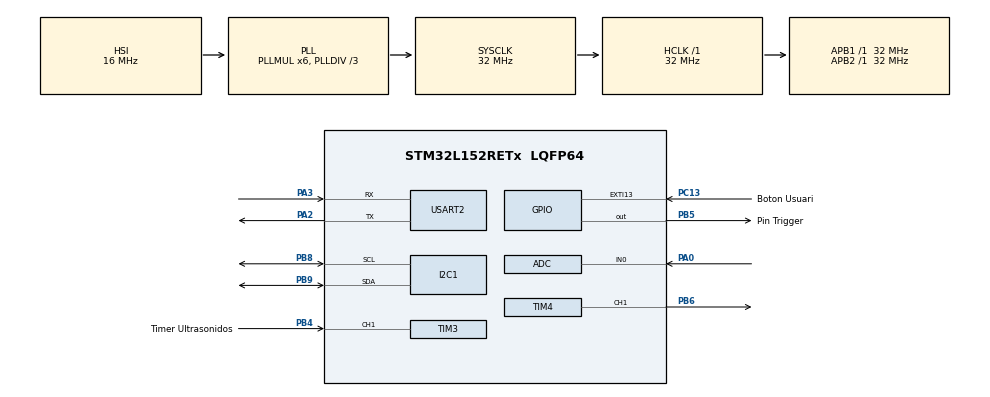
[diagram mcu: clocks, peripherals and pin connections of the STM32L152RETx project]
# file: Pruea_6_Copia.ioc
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ADC.Channel-0\#ChannelRegularConversion=ADC_CHANNEL_0
ADC.NbrOfConversionFlag=1
ADC.Rank-0\#ChannelRegularConversion=1
ADC.SamplingTime-0\#ChannelRegularConversion=ADC_SAMPLETIME_4CYCLES
Mcu.Family=STM32L1
Mcu.Name=STM32L152RETx
Mcu.Package=LQFP64
NVIC.EXTI15_10_IRQn=true\:0\:0\:false\:false\:true\:true\:false
NVIC.PriorityGroup=NVIC_PRIORITYGROUP_4
NVIC.TIM3_IRQn=true\:0\:0\:false\:false\:true\:true\:false
PA0-WKUP1.Mode=IN0
PA0-WKUP1.Signal=ADC_IN0
PA13.Signal=SYS_JTMS-SWDIO
PA14.Signal=SYS_JTCK-SWCLK
PA2.Mode=Asynchronous
PA2.Signal=USART2_TX
PA3.Mode=Asynchronous
PA3.Signal=USART2_RX
PB10.GPIO_Label=Timer PWM
PB10.Signal=S_TIM2_CH3
PB4.GPIO_Label=Timer Ultrasonidos
PB4.Signal=S_TIM3_CH1
PB5.GPIO_Label=Pin Trigger
PB5.Signal=GPIO_Output
PB6.Signal=S_TIM4_CH1
PB8.Mode=I2C
PB8.Signal=I2C1_SCL
PB9.Mode=I2C
PB9.Signal=I2C1_SDA
PC13-WKUP2.GPIO_Label=Boton Usuari
PC13-WKUP2.Signal=GPXTI13
PC14-OSC32_IN.Mode=LSE-External-Oscillator
PC14-OSC32_IN.Signal=RCC_OSC32_IN
PC15-OSC32_OUT.Mode=LSE-External-Oscillator
PC15-OSC32_OUT.Signal=RCC_OSC32_OUT
PH0-OSC_IN.Mode=HSE-External-Oscillator
PH0-OSC_IN.Signal=RCC_OSC_IN
PH1-OSC_OUT.Mode=HSE-External-Oscillator
PH1-OSC_OUT.Signal=RCC_OSC_OUT
ProjectManager.HeapSize=0x200
ProjectManager.StackSize=0x400
ProjectManager.TargetToolchain=STM32CubeIDE
RCC.48MHZClocksFreq_Value=48000000
RCC.AHBFreq_Value=32000000
RCC.APB1Freq_Value=32000000
RCC.APB1TimFreq_Value=32000000
RCC.APB2Freq_Value=32000000
RCC.APB2TimFreq_Value=32000000
RCC.HCLKFreq_Value=32000000
RCC.HSE_VALUE=8000000
RCC.HSI_VALUE=16000000
RCC.MSI_VALUE=2097000
RCC.PLLDIV=RCC_PLL_DIV3
RCC.PLLMUL=RCC_PLL_MUL6
RCC.SYSCLKFreq_VALUE=32000000
RCC.SYSCLKSource=RCC_SYSCLKSOURCE_PLLCLK
RCC.VCOOutputFreq_Value=96000000
SH.S_TIM2_CH3.0=TIM2_CH3
SH.S_TIM3_CH1.0=TIM3_CH1,Input_Capture1_from_TI1
SH.S_TIM4_CH1.0=TIM4_CH1,PWM Generation1 CH1
TIM2.Channel-PWM\ Generation3\ No\ Output=TIM_CHANNEL_3
TIM2.Period=39999
TIM2.Prescaler=15
TIM3.Channel-Input_Capture1_from_TI1=TIM_CHANNEL_1
TIM3.ICPolarity_CH1=TIM_INPUTCHANNELPOLARITY_BOTHEDGE
TIM3.Prescaler=31
TIM4.Channel-PWM\ Generation1\ CH1=TIM_CHANNEL_1
TIM4.Period=255-1
TIM4.Prescaler=492-1
TIM7.Prescaler=31
USART2.VirtualMode=VM_ASYNC
VP_TIM2_VS_no_output3.Mode=PWM Generation3 No Output
VP_TIM3_VS_ClockSourceINT.Mode=Internal
VP_TIM4_VS_ClockSourceINT.Mode=Internal
VP_TIM7_VS_ClockSourceINT.Mode=Enable_Timer
board=custom

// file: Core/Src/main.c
/* USER CODE BEGIN Header */
/**
  ******************************************************************************
  * @file           : main.c
  * @brief          : Main program body
  ******************************************************************************
  * @attention
  *
  * <h2><center>&copy; Copyright (c) 2020 STMicroelectronics.
  * All rights reserved.</center></h2>
  *
  * This software component is licensed by ST under BSD 3-Clause license,
  * the "License"; You may not use this file except in compliance with the
  * License. You may obtain a copy of the License at:
  *                        opensource.org/licenses/BSD-3-Clause
  *
  ******************************************************************************
  */
/* USER CODE END Header */
#include "main.h"

/* USER CODE BEGIN Includes */
#include <stdio.h>
#include <string.h>
#include "stm32l1xx_hal.h"
//**Incluir librerias para el dispositivo MPU6050
#include "TJ_MPU6050.h"
/* USER CODE END Includes */

ADC_HandleTypeDef hadc;

I2C_HandleTypeDef hi2c1;

TIM_HandleTypeDef htim2;
TIM_HandleTypeDef htim3;
TIM_HandleTypeDef htim4;
TIM_HandleTypeDef htim7;

UART_HandleTypeDef huart2;

/* USER CODE BEGIN PV */

//Variables para leer de la terminal
int len=0;
int buff[256];

//Variables modo 1
uint8_t exit_mode1=0;
uint32_t angle;
uint32_t valor_adc;

//Variables modo 2
uint8_t exit_mode2=0;
uint16_t CCR_motor[4] = {1200, 2500, 3700, 5000};
uint8_t angles_motor[4] = {0, 60, 120, 180};
uint8_t distances[4];
uint8_t largest_position;
uint8_t largest;
uint8_t done_measuring;
uint16_t MPU_values[4];
uint16_t apto;

//Variable EXTIs
uint8_t msg;
uint8_t program_out;

//Variables Ultrasonidos
uint32_t time_elapsed;
uint8_t distance;
uint8_t time_captured;

/* USER CODE END PV */

void SystemClock_Config(void);
static void MX_GPIO_Init(void);
static void MX_ADC_Init(void);
static void MX_TIM2_Init(void);
static void MX_TIM3_Init(void);
static void MX_TIM7_Init(void);
static void MX_USART2_UART_Init(void);
static void MX_TIM4_Init(void);
static void MX_I2C1_Init(void);

/* USER CODE BEGIN 0 */

//**Datos para el MPU
//Estructuras de los datos obtenidos del MPU
RawData_Def myAccelRaw, myGyroRaw;
ScaledData_Def myAccelScaled, myGyroScaled;

//**Funcion para delay ultrasonidos
void delay(uint32_t delay){

			if(delay < 2) delay = 2;
			TIM7->ARR = delay - 1;
			TIM7-> CNT = 0;
			TIM7->CR1 |= 1;
			while((TIM7->SR&0x0001) != 1);
			TIM7->SR &= ~(0x0001);

		}

//**Funcion para leer de la terminal

		int readMsg(void)
		{

		 for( len =0;len<256;len++)
		 {
			while(!(USART2->SR & USART_SR_RXNE));
		   buff[len]= USART2->DR;
			if (buff[len]==10 || buff[len]==13) break; //Condicion si se preciona enter
		 }
		 return len; //Devuelve el string de caracteres sin incluir el enter
		}

//**Funcion para printf

		#ifdef __GNUC__
		/* With GCC, small printf (option LD Linker->Libraries->Small printf
		 set to 'Yes') calls __io_putchar() */
		#define PUTCHAR_PROTOTYPE int __io_putchar(int ch)
		#define GETCHAR_PROTOTYPE int __io_getchar(void)
		#else
		#define PUTCHAR_PROTOTYPE int fputc(int ch, FILE *f)
		#define GETCHAR_PROTOTYPE int fgetc(FILE *f)
		#endif /* __GNUC__ */

		PUTCHAR_PROTOTYPE {
			/* Place your implementation of fputc here */
			/* e.g. write a character to the EVAL_COM1 and Loop until the end of transmission */
			HAL_UART_Transmit(&huart2, (uint8_t*) &ch, 1, 0xFFFF);
			return ch;
		}
		GETCHAR_PROTOTYPE {
			/* Place your implementation of fgetc here */
			/* e.g. write a character to the EVAL_COM1 and Loop until the end of transmission */
			char ch;
			HAL_UART_Receive(&huart2, (uint8_t*) &ch, 1, 0xFFFF);
			return ch;
		}

//**Funcion de notas musicales

		void Correcto_zelda(void){
			  //Cambiar el valor del PSC del timer para ajustar el tono del sonido
			  TIM4->PSC = 319-1;
			  //Setear el CCR a 50 para ajustar el volumen del sonido
			  htim4.Instance->CCR1 = 50;
			  HAL_Delay(200);
			  TIM4->PSC = 338-1;
			  htim4.Instance->CCR1 = 50;
			  HAL_Delay(200);
			  TIM4->PSC = 402-1;
			  htim4.Instance->CCR1 = 50;
			  HAL_Delay(200);
			  TIM4->PSC = 801-1;
			  htim4.Instance->CCR1 = 50;
			  HAL_Delay(200);
			  TIM4->PSC = 603-1;
			  htim4.Instance->CCR1 = 50;
			  HAL_Delay(200);
			  TIM4->PSC = 380-1;
			  htim4.Instance->CCR1 = 50;
			  HAL_Delay(200);
			  TIM4->PSC = 301-1;
			  htim4.Instance->CCR1 = 50;
			  HAL_Delay(200);
			  TIM4->PSC = 239-1;
			  htim4.Instance->CCR1 = 50;
			  HAL_Delay(400);
			  htim4.Instance->CCR1 = 0;
		}

		void final_notificacion(void){
			  TIM4->PSC = 478-1;
			  htim4.Instance->CCR1 = 50;
			  HAL_Delay(100);
			  htim4.Instance->CCR1 = 0;
			  HAL_Delay(100);
			  TIM4->PSC = 478-1;
			  htim4.Instance->CCR1 = 50;
			  HAL_Delay(200);
			  TIM4->PSC = 425-1;
			  htim4.Instance->CCR1 = 50;
			  HAL_Delay(200);
			  htim4.Instance->CCR1 = 0;
			  HAL_Delay(100);
			  TIM4->PSC = 425-1;
			  htim4.Instance->CCR1 = 50;
			  HAL_Delay(200);
			  TIM4->PSC = 379-1;
			  htim4.Instance->CCR1 = 50;
			  HAL_Delay(200);
			  htim4.Instance->CCR1 = 0;
			  HAL_Delay(100);
			  TIM4->PSC = 379-1;
			  htim4.Instance->CCR1 = 50;
			  HAL_Delay(200);
			  TIM4->PSC = 425-1;
			  htim4.Instance->CCR1 = 50;
			  HAL_Delay(100);
			  TIM4->PSC = 379-1;
			  htim4.Instance->CCR1 = 50;
			  HAL_Delay(200);
			  htim4.Instance->CCR1 = 0;
		}

//**Codigo para el standby mode

		void gotoSleep(void){

			  //Activar el PWR Control Clock
			  RCC->APB1ENR|= (RCC_APB1ENR_PWREN);

			  //Activar el bit SLEEDEEP del Cortex System Control Register
			  SCB->SCR |= SCB_SCR_SLEEPDEEP_Msk;

			  //Seleccionar Standby mode
			  PWR->CR |= PWR_CR_PDDS;

			  //Borrar el wake up flag
			  PWR->CR |= PWR_CR_CWUF;

			  //Activar el wakeup pin
			  PWR->CR |= (PWR_CSR_EWUP2);

			  //Activar wait for interrupt
			  __WFI();

		}

/* USER CODE END 0 */

int main(void)
{
  /* USER CODE BEGIN 1 */
	MPU_ConfigTypeDef myMpuConfig;
  /* USER CODE END 1 */

  /* MCU Configuration--------------------------------------------------------*/

  /* Reset of all peripherals, Initializes the Flash interface and the Systick. */
  HAL_Init();

  /* Configure the system clock */
  SystemClock_Config();

  /* Initialize all configured peripherals */
  MX_GPIO_Init();
  MX_ADC_Init();
  MX_TIM2_Init();
  MX_TIM3_Init();
  MX_TIM7_Init();
  MX_USART2_UART_Init();
  MX_TIM4_Init();
  MX_I2C1_Init();
  /* USER CODE BEGIN 2 */

  //**Codigo para comprobar si ha despertado del modo StandBy
  //Si la flag del modo stand by esta activada, se pasa la condicion
  if(((PWR->CSR)&(PWR_CSR_SBF))){
	  PWR->CR |= PWR_CR_CWUF;
	  PWR->CR |= PWR_CR_CSBF;

	  printf("Saliendo del StandBy Mode\n");
	  HAL_Delay(1500);

  }

  //Inicializar modulo MPU6050 y I2C
   MPU6050_Init(&hi2c1);

   //MPU6050 Config
   myMpuConfig.Accel_Full_Scale = AFS_SEL_2g;
   myMpuConfig.ClockSource = Internal_8MHz;
   myMpuConfig.CONFIG_DLPF = DLPF_184A_188G_Hz;
   myMpuConfig.Gyro_Full_Scale = FS_SEL_500;
   myMpuConfig.Sleep_Mode_Bit = 1; // 1 = sleep mode, 0= normal mode
   MPU6050_Config(&myMpuConfig);

  /* USER CODE END 2 */

  /* Infinite loop */
  /* USER CODE BEGIN WHILE */
  while (1)
  {
	  do{
		  //Presentación del menu al usuario
		  printf("Bienvenido al menu, elija el modo de funcionamiento. Si quieres salir escribir introducir '0':\n");
		  printf("Modo 1 - '1'\n");
		  printf("Modo 2 - '2'\n");
		  printf("StanbBy Mode - '3'\n");

		  //Leer el input del usuario
		  readMsg();

		  //MODO 1 MANUAL
		  if(buff[0] == 49){
			  exit_mode1 = 0;
			  printf("Modo 1 seleccionado\nPorfavor, posicione el sensor en la posición deseada. Una vez posicionado presione el botón usuario");
			  do{

				  	//Activar la señal PWM para el motor y el ADC para obtener una señal del potenciometro
			  		HAL_TIM_PWM_Start(&htim2,TIM_CHANNEL_3);
			  		HAL_ADC_Start(&hadc);
			  		HAL_ADC_PollForConversion(&hadc, HAL_MAX_DELAY);
			  		valor_adc = HAL_ADC_GetValue(&hadc);
			  		HAL_ADC_Stop(&hadc);

			  		//Formula para que el motor obtenga los valores correctos
			  		TIM2->CCR3 = ((valor_adc*0.92796)+1200); // MAX CCR3 = 5000, MIN CCR3 = 1200
			  		angle = (valor_adc*0.04395);

			  	  		if(msg == 1){
			  	  			//Enviar el trigger para que mida el ultrasonidos
				  			 msg = 0;
				  			 HAL_GPIO_WritePin(GPIOB, GPIO_PIN_5, GPIO_PIN_RESET);
				  			 delay(3);
				  			 HAL_GPIO_WritePin(GPIOB, GPIO_PIN_5, GPIO_PIN_SET);
				  			 delay(10);
				  			 HAL_GPIO_WritePin(GPIOB, GPIO_PIN_5, GPIO_PIN_RESET);
				  			 HAL_TIM_IC_Start_IT(&htim3, TIM_CHANNEL_1);
			  	  		}

			  	  		if(time_captured){
			  	  			//Calcular distancia y mostrarla con el angulo
			  	  			distance = (time_elapsed)/58;
			  	  			printf("Distance(cm):%hu\nAngle(degrees):%hu\n", distance, angle);
			  	  			time_captured = 0;
			  	  			//Notificacion por sonido
			  	  			HAL_TIM_PWM_Start(&htim4,TIM_CHANNEL_1);
			  	  			final_notificacion();
			  	  			//Preguntar si quiere volver a medir
			  	  			printf("Quiere volver a medir una nueva distancia manualmente? 1 -> Si, 0 -> No\n");
			  	  			readMsg();
			  	  			if(buff[0] == 48){
			  	  				exit_mode1 = 1;
			  	  			}
			  	  		}
			  }while(!exit_mode1);
		  }

		  //Parar la señal PWM y el ADC
		  HAL_TIM_PWM_Stop(&htim2,TIM_CHANNEL_3);
		  HAL_ADC_Stop(&hadc);

		  //MODO 2 AUTOMATICO
		  if(buff[0] == 50){
			 exit_mode2=0;
			 //Se despierta el MPU
			 myMpuConfig.Sleep_Mode_Bit = 0;
		  	 printf("Modo 2 seleccionado\n");

		  	 do{
		  		 done_measuring = 0;
		  		while(!done_measuring){
		  			printf("Tomando medidas...\n");
		  			HAL_TIM_PWM_Start(&htim2,TIM_CHANNEL_3);
		  			for(int i=0;i<4;i++){
		  				//Posicionar el motor
		  				TIM2->CCR3=CCR_motor[i];

		  				/*CODIGO PARA EL MPU, PERO NO FUNCIONA CORRECTAMENTE
		  				Recopilar datos del MPU
		  				for(int i=0;i<4;i++){
							HAL_Delay(8);
							MPU6050_Get_Accel_Scale(&myAccelScaled);
							MPU6050_Get_Gyro_Scale(&myGyroScaled);
		  					MPU_values[i] = myGyroScaled.x;
		  				}

		  				//Analizar que el MPU alcance una velocidad mayor de 250 grados por segundo
		  				for(int i=0;i<4;i++){
		  					if(MPU_values[i]>250){
		  						apto = 1;
		  					}
		  				}

		  				//Si no lo alcanza es que hay un obstaculo
		  				if(!apto){
		  					printf("Error");
		  					break;
		  				}
		  				apto = 0; */

		  				HAL_Delay(1500);
		  				//Enviar señal al trigger
		  				HAL_GPIO_WritePin(GPIOB, GPIO_PIN_5, GPIO_PIN_RESET);
		  				delay(3);
		  				HAL_GPIO_WritePin(GPIOB, GPIO_PIN_5, GPIO_PIN_SET);
		  				delay(10);
		  				HAL_GPIO_WritePin(GPIOB, GPIO_PIN_5, GPIO_PIN_RESET);
		  				HAL_TIM_IC_Start_IT(&htim3, TIM_CHANNEL_1);
		  				HAL_Delay(500);
		  				//Guardar la medida obtenida
		  				if(time_captured){
		  				//Calcular distancia y guardarlax
							distance = (time_elapsed)/58;
							distances[i]= distance;
							time_captured = 0;

		  				}
		  			}
		  			done_measuring = 1;
		  		}

		  		largest = distances[0];

		  		//Buscar la posicion con mas distancia medida por el ultrasonidos
		  		for(int i=0;i<4;i++){
		  			//Si la medida a comparar es mayor que la anterior, toma lugar como la mayor medida
		  			if(distances[i]>largest){
		  				largest = distances[i];
		  				largest_position = i;
		  			}
		  		}

		  		//Posicionar el motor en la posicion con mayor distancia
		  		TIM2->CCR3=CCR_motor[largest_position];
		  		//Mostrar resultado y pedir si se desea hacer otro escaneo
		  		printf("Para volver a escanear, introducir '1'. Para salir al menu, introducir '0'\nDistance: %d\tAngle: %d\n",largest, angles_motor[largest_position]);
		  		//Notificar por sonido
		  		HAL_TIM_PWM_Start(&htim4,TIM_CHANNEL_1);
		  		Correcto_zelda();
		  		HAL_TIM_PWM_Stop(&htim4,TIM_CHANNEL_1);
		  		sreadMsg();
		  		if(buff[0] == 48){
		  			exit_mode2 = 1;
		  			HAL_TIM_PWM_Stop(&htim2,TIM_CHANNEL_3);
		  		}
		  	}while(!exit_mode2);
		  	 //Se duerme el MPU
		  	myMpuConfig.Sleep_Mode_Bit = 1;
		 }

		  if(buff[0] == 51){
			  //Se anuncia que el programa esta entrando en Stand By
			  printf("Entrando StandBy Mode\n");
			  gotoSleep();
		  }

		  if(buff[0] == 48){
			  program_out = 1;
		  }

	  }while(!program_out);

	  printf("Gracias por usar el sonar");

    /* USER CODE END WHILE */

  }
}

void SystemClock_Config(void)
{
  RCC_OscInitTypeDef RCC_OscInitStruct = {0};
  RCC_ClkInitTypeDef RCC_ClkInitStruct = {0};

  /** Configure the main internal regulator output voltage
  */
  __HAL_PWR_VOLTAGESCALING_CONFIG(PWR_REGULATOR_VOLTAGE_SCALE1);
  /** Initializes the RCC Oscillators according to the specified parameters
  * in the RCC_OscInitTypeDef structure.
  */
  RCC_OscInitStruct.OscillatorType = RCC_OSCILLATORTYPE_HSI;
  RCC_OscInitStruct.HSIState = RCC_HSI_ON;
  RCC_OscInitStruct.HSICalibrationValue = RCC_HSICALIBRATION_DEFAULT;
  RCC_OscInitStruct.PLL.PLLState = RCC_PLL_ON;
  RCC_OscInitStruct.PLL.PLLSource = RCC_PLLSOURCE_HSI;
  RCC_OscInitStruct.PLL.PLLMUL = RCC_PLL_MUL6;
  RCC_OscInitStruct.PLL.PLLDIV = RCC_PLL_DIV3;
  if (HAL_RCC_OscConfig(&RCC_OscInitStruct) != HAL_OK)
  {
    Error_Handler();
  }
  /** Initializes the CPU, AHB and APB buses clocks
  */
  RCC_ClkInitStruct.ClockType = RCC_CLOCKTYPE_HCLK|RCC_CLOCKTYPE_SYSCLK
                              |RCC_CLOCKTYPE_PCLK1|RCC_CLOCKTYPE_PCLK2;
  RCC_ClkInitStruct.SYSCLKSource = RCC_SYSCLKSOURCE_PLLCLK;
  RCC_ClkInitStruct.AHBCLKDivider = RCC_SYSCLK_DIV1;
  RCC_ClkInitStruct.APB1CLKDivider = RCC_HCLK_DIV1;
  RCC_ClkInitStruct.APB2CLKDivider = RCC_HCLK_DIV1;

  if (HAL_RCC_ClockConfig(&RCC_ClkInitStruct, FLASH_LATENCY_1) != HAL_OK)
  {
    Error_Handler();
  }
}

static void MX_ADC_Init(void)
{

  ADC_ChannelConfTypeDef sConfig = {0};

  /** Configure the global features of the ADC (Clock, Resolution, Data Alignment and number of conversion)
  */
  hadc.Instance = ADC1;
  hadc.Init.ClockPrescaler = ADC_CLOCK_ASYNC_DIV1;
  hadc.Init.Resolution = ADC_RESOLUTION_12B;
  hadc.Init.DataAlign = ADC_DATAALIGN_RIGHT;
  hadc.Init.ScanConvMode = ADC_SCAN_DISABLE;
  hadc.Init.EOCSelection = ADC_EOC_SEQ_CONV;
  hadc.Init.LowPowerAutoWait = ADC_AUTOWAIT_DISABLE;
  hadc.Init.LowPowerAutoPowerOff = ADC_AUTOPOWEROFF_DISABLE;
  hadc.Init.ChannelsBank = ADC_CHANNELS_BANK_A;
  hadc.Init.ContinuousConvMode = DISABLE;
  hadc.Init.NbrOfConversion = 1;
  hadc.Init.DiscontinuousConvMode = DISABLE;
  hadc.Init.ExternalTrigConv = ADC_SOFTWARE_START;
  hadc.Init.ExternalTrigConvEdge = ADC_EXTERNALTRIGCONVEDGE_NONE;
  hadc.Init.DMAContinuousRequests = DISABLE;
  if (HAL_ADC_Init(&hadc) != HAL_OK)
  {
    Error_Handler();
  }
  /** Configure for the selected ADC regular channel its corresponding rank in the sequencer and its sample time.
  */
  sConfig.Channel = ADC_CHANNEL_0;
  sConfig.Rank = ADC_REGULAR_RANK_1;
  sConfig.SamplingTime = ADC_SAMPLETIME_4CYCLES;
  if (HAL_ADC_ConfigChannel(&hadc, &sConfig) != HAL_OK)
  {
    Error_Handler();
  }

}

static void MX_I2C1_Init(void)
{

  hi2c1.Instance = I2C1;
  hi2c1.Init.ClockSpeed = 100000;
  hi2c1.Init.DutyCycle = I2C_DUTYCYCLE_2;
  hi2c1.Init.OwnAddress1 = 0;
  hi2c1.Init.AddressingMode = I2C_ADDRESSINGMODE_7BIT;
  hi2c1.Init.DualAddressMode = I2C_DUALADDRESS_DISABLE;
  hi2c1.Init.OwnAddress2 = 0;
  hi2c1.Init.GeneralCallMode = I2C_GENERALCALL_DISABLE;
  hi2c1.Init.NoStretchMode = I2C_NOSTRETCH_DISABLE;
  if (HAL_I2C_Init(&hi2c1) != HAL_OK)
  {
    Error_Handler();
  }

}

static void MX_TIM2_Init(void)
{

  TIM_MasterConfigTypeDef sMasterConfig = {0};
  TIM_OC_InitTypeDef sConfigOC = {0};

  htim2.Instance = TIM2;
  htim2.Init.Prescaler = 15;
  htim2.Init.CounterMode = TIM_COUNTERMODE_UP;
  htim2.Init.Period = 39999;
  htim2.Init.ClockDivision = TIM_CLOCKDIVISION_DIV1;
  htim2.Init.AutoReloadPreload = TIM_AUTORELOAD_PRELOAD_DISABLE;
  if (HAL_TIM_PWM_Init(&htim2) != HAL_OK)
  {
    Error_Handler();
  }
  sMasterConfig.MasterOutputTrigger = TIM_TRGO_RESET;
  sMasterConfig.MasterSlaveMode = TIM_MASTERSLAVEMODE_DISABLE;
  if (HAL_TIMEx_MasterConfigSynchronization(&htim2, &sMasterConfig) != HAL_OK)
  {
    Error_Handler();
  }
  sConfigOC.OCMode = TIM_OCMODE_PWM1;
  sConfigOC.Pulse = 0;
  sConfigOC.OCPolarity = TIM_OCPOLARITY_HIGH;
  sConfigOC.OCFastMode = TIM_OCFAST_DISABLE;
  if (HAL_TIM_PWM_ConfigChannel(&htim2, &sConfigOC, TIM_CHANNEL_3) != HAL_OK)
  {
    Error_Handler();
  }

}

static void MX_TIM3_Init(void)
{

  TIM_ClockConfigTypeDef sClockSourceConfig = {0};
  TIM_MasterConfigTypeDef sMasterConfig = {0};
  TIM_IC_InitTypeDef sConfigIC = {0};

  htim3.Instance = TIM3;
  htim3.Init.Prescaler = 31;
  htim3.Init.CounterMode = TIM_COUNTERMODE_UP;
  htim3.Init.Period = 65535;
  htim3.Init.ClockDivision = TIM_CLOCKDIVISION_DIV1;
  htim3.Init.AutoReloadPreload = TIM_AUTORELOAD_PRELOAD_DISABLE;
  if (HAL_TIM_Base_Init(&htim3) != HAL_OK)
  {
    Error_Handler();
  }
  sClockSourceConfig.ClockSource = TIM_CLOCKSOURCE_INTERNAL;
  if (HAL_TIM_ConfigClockSource(&htim3, &sClockSourceConfig) != HAL_OK)
  {
    Error_Handler();
  }
  if (HAL_TIM_IC_Init(&htim3) != HAL_OK)
  {
    Error_Handler();
  }
  sMasterConfig.MasterOutputTrigger = TIM_TRGO_RESET;
  sMasterConfig.MasterSlaveMode = TIM_MASTERSLAVEMODE_DISABLE;
  if (HAL_TIMEx_MasterConfigSynchronization(&htim3, &sMasterConfig) != HAL_OK)
  {
    Error_Handler();
  }
  sConfigIC.ICPolarity = TIM_INPUTCHANNELPOLARITY_BOTHEDGE;
  sConfigIC.ICSelection = TIM_ICSELECTION_DIRECTTI;
  sConfigIC.ICPrescaler = TIM_ICPSC_DIV1;
  sConfigIC.ICFilter = 0;
  if (HAL_TIM_IC_ConfigChannel(&htim3, &sConfigIC, TIM_CHANNEL_1) != HAL_OK)
  {
    Error_Handler();
  }

}

static void MX_TIM4_Init(void)
{

  TIM_ClockConfigTypeDef sClockSourceConfig = {0};
  TIM_MasterConfigTypeDef sMasterConfig = {0};
  TIM_OC_InitTypeDef sConfigOC = {0};

  htim4.Instance = TIM4;
  htim4.Init.Prescaler = 492-1;
  htim4.Init.CounterMode = TIM_COUNTERMODE_UP;
  htim4.Init.Period = 255-1;
  htim4.Init.ClockDivision = TIM_CLOCKDIVISION_DIV1;
  htim4.Init.AutoReloadPreload = TIM_AUTORELOAD_PRELOAD_DISABLE;
  if (HAL_TIM_Base_Init(&htim4) != HAL_OK)
  {
    Error_Handler();
  }
  sClockSourceConfig.ClockSource = TIM_CLOCKSOURCE_INTERNAL;
  if (HAL_TIM_ConfigClockSource(&htim4, &sClockSourceConfig) != HAL_OK)
  {
    Error_Handler();
  }
  if (HAL_TIM_PWM_Init(&htim4) != HAL_OK)
  {
    Error_Handler();
  }
  sMasterConfig.MasterOutputTrigger = TIM_TRGO_RESET;
  sMasterConfig.MasterSlaveMode = TIM_MASTERSLAVEMODE_DISABLE;
  if (HAL_TIMEx_MasterConfigSynchronization(&htim4, &sMasterConfig) != HAL_OK)
  {
    Error_Handler();
  }
  sConfigOC.OCMode = TIM_OCMODE_PWM1;
  sConfigOC.Pulse = 0;
  sConfigOC.OCPolarity = TIM_OCPOLARITY_HIGH;
  sConfigOC.OCFastMode = TIM_OCFAST_DISABLE;
  if (HAL_TIM_PWM_ConfigChannel(&htim4, &sConfigOC, TIM_CHANNEL_1) != HAL_OK)
  {
    Error_Handler();
  }
  HAL_TIM_MspPostInit(&htim4);

}

static void MX_TIM7_Init(void)
{

  TIM_MasterConfigTypeDef sMasterConfig = {0};

  htim7.Instance = TIM7;
  htim7.Init.Prescaler = 31;
  htim7.Init.CounterMode = TIM_COUNTERMODE_UP;
  htim7.Init.Period = 65535;
  htim7.Init.AutoReloadPreload = TIM_AUTORELOAD_PRELOAD_DISABLE;
  if (HAL_TIM_Base_Init(&htim7) != HAL_OK)
  {
    Error_Handler();
  }
  sMasterConfig.MasterOutputTrigger = TIM_TRGO_RESET;
  sMasterConfig.MasterSlaveMode = TIM_MASTERSLAVEMODE_DISABLE;
  if (HAL_TIMEx_MasterConfigSynchronization(&htim7, &sMasterConfig) != HAL_OK)
  {
    Error_Handler();
  }

}

static void MX_USART2_UART_Init(void)
{

  huart2.Instance = USART2;
  huart2.Init.BaudRate = 115200;
  huart2.Init.WordLength = UART_WORDLENGTH_8B;
  huart2.Init.StopBits = UART_STOPBITS_1;
  huart2.Init.Parity = UART_PARITY_NONE;
  huart2.Init.Mode = UART_MODE_TX_RX;
  huart2.Init.HwFlowCtl = UART_HWCONTROL_NONE;
  huart2.Init.OverSampling = UART_OVERSAMPLING_16;
  if (HAL_UART_Init(&huart2) != HAL_OK)
  {
    Error_Handler();
  }

}

static void MX_GPIO_Init(void)
{
  GPIO_InitTypeDef GPIO_InitStruct = {0};

  /* GPIO Ports Clock Enable */
  __HAL_RCC_GPIOC_CLK_ENABLE();
  __HAL_RCC_GPIOH_CLK_ENABLE();
  __HAL_RCC_GPIOA_CLK_ENABLE();
  __HAL_RCC_GPIOB_CLK_ENABLE();

  /*Configure GPIO pin Output Level */
  HAL_GPIO_WritePin(Pin_Trigger_GPIO_Port, Pin_Trigger_Pin, GPIO_PIN_RESET);

  /*Configure GPIO pin : Boton_Usuari_Pin */
  GPIO_InitStruct.Pin = Boton_Usuari_Pin;
  GPIO_InitStruct.Mode = GPIO_MODE_IT_RISING;
  GPIO_InitStruct.Pull = GPIO_NOPULL;
  HAL_GPIO_Init(Boton_Usuari_GPIO_Port, &GPIO_InitStruct);

  /*Configure GPIO pin : Pin_Trigger_Pin */
  GPIO_InitStruct.Pin = Pin_Trigger_Pin;
  GPIO_InitStruct.Mode = GPIO_MODE_OUTPUT_PP;
  GPIO_InitStruct.Pull = GPIO_NOPULL;
  GPIO_InitStruct.Speed = GPIO_SPEED_FREQ_LOW;
  HAL_GPIO_Init(Pin_Trigger_GPIO_Port, &GPIO_InitStruct);

  /* EXTI interrupt init*/
  HAL_NVIC_SetPriority(EXTI15_10_IRQn, 0, 0);
  HAL_NVIC_EnableIRQ(EXTI15_10_IRQn);

}

void Error_Handler(void)
{
  __disable_irq();
  while (1)
  {
  }
}

/************************ (C) COPYRIGHT STMicroelectronics *****END OF FILE****/
